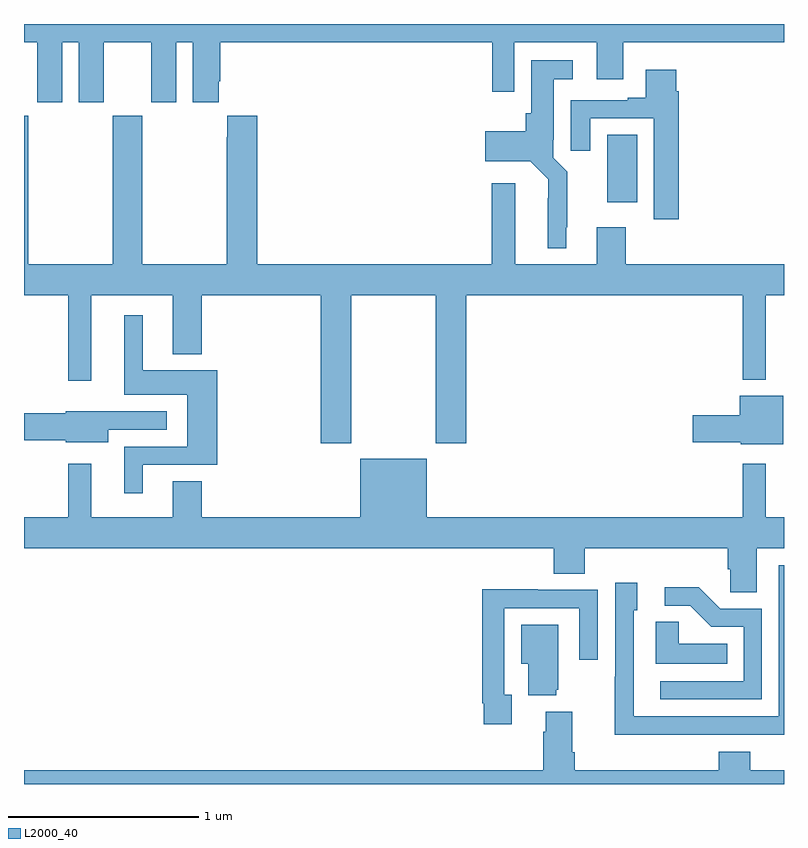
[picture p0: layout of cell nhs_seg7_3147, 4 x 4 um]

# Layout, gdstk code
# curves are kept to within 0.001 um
import gdstk
lib = gdstk.Library(unit=1e-6, precision=1e-09)
def R(c, l, rs):  # rectangles x0, y0, x1, y1
    for r in rs: c.add(gdstk.rectangle(r[:2], r[2:], *l))
def P(c, l, *ps):  # polygons
    for p in ps: c.add(gdstk.Polygon(p, *l))
L2000_40 = (2000, 40)

nhs_seg7_3147 = lib.new_cell('nhs_seg7_3147')
R(nhs_seg7_3147, L2000_40, [(314.069,1045.062,314.227,1045.418)])
P(nhs_seg7_3147, L2000_40, [(311.2,1045.904),(311.288,1045.904),(311.288,1045.587),(311.419,1045.587),(311.419,1045.904),(311.669,1045.904),(311.669,1045.587),(311.8,1045.587),(311.8,1045.904),(311.888,1045.904),(311.888,1045.587),(312.025,1045.587),(312.025,1045.699),(312.032,1045.699),(312.032,1045.904),(313.465,1045.904),(313.465,1045.644),(313.581,1045.644),(313.581,1045.904),(314.015,1045.904),(314.015,1045.71),(314.155,1045.71),(314.155,1045.904),(315,1045.904),(315,1046),(311,1046),(311,1045.904),(311.069,1045.904),(311.069,1045.587),(311.2,1045.587)],
  [(313.855,1044.931),(313.858,1044.931),(313.858,1045.223),(313.785,1045.296),(313.785,1045.39),(313.789,1045.39),(313.789,1045.709),(313.888,1045.709),(313.888,1045.81),(313.67,1045.81),(313.67,1045.53),(313.64,1045.53),(313.64,1045.435),(313.428,1045.435),(313.428,1045.277),(313.665,1045.277),(313.758,1045.184),(313.757,1044.821),(313.855,1044.821)],
  [(314.447,1045.646),(314.434,1045.646),(314.434,1045.759),(314.273,1045.759),(314.273,1045.612),(314.177,1045.612),(314.177,1045.599),(313.877,1045.599),(313.877,1045.332),(313.981,1045.332),(313.981,1045.503),(314.315,1045.503),(314.315,1044.972),(314.447,1044.972)],
  [(311.022,1045.516),(311,1045.516),(311,1044.572),(311.232,1044.572),(311.232,1044.123),(311.353,1044.123),(311.353,1044.572),(311.783,1044.572),(311.783,1044.263),(311.936,1044.263),(311.936,1044.572),(312.563,1044.572),(312.563,1043.793),(312.723,1043.793),(312.723,1044.572),(313.168,1044.572),(313.168,1043.793),(313.328,1043.793),(313.328,1044.572),(314.784,1044.572),(314.784,1044.128),(314.905,1044.128),(314.905,1044.572),(315,1044.572),(315,1044.736),(314.168,1044.736),(314.168,1044.93),(314.015,1044.93),(314.015,1044.736),(313.585,1044.736),(313.585,1045.162),(313.463,1045.162),(313.463,1044.736),(312.227,1044.736),(312.227,1045.516),(312.071,1045.516),(312.071,1045.403),(312.067,1045.403),(312.067,1044.736),(311.622,1044.736),(311.622,1045.516),(311.467,1045.516),(311.467,1044.736),(311.022,1044.736)],
  [(311.626,1043.679),(312.017,1043.679),(312.017,1044.178),(311.626,1044.178),(311.626,1044.466),(311.528,1044.466),(311.528,1044.05),(311.858,1044.05),(311.858,1043.775),(311.528,1043.775),(311.528,1043.529),(311.626,1043.529)],
  [(314.995,1044.043),(314.768,1044.043),(314.768,1043.942),(314.52,1043.942),(314.52,1043.8),(314.772,1043.8),(314.772,1043.789),(314.995,1043.789)],
  [(311.443,1043.865),(311.752,1043.865),(311.752,1043.961),(311.439,1043.961),(311.439,1043.962),(311.22,1043.962),(311.22,1043.951),(311,1043.951),(311,1043.809),(311.22,1043.809),(311.22,1043.798),(311.443,1043.798)],
  [(314.857,1043.24),(315,1043.24),(315,1043.404),(314.905,1043.404),(314.905,1043.686),(314.784,1043.686),(314.784,1043.404),(313.12,1043.404),(313.12,1043.713),(312.77,1043.713),(312.77,1043.404),(311.936,1043.404),(311.936,1043.594),(311.783,1043.594),(311.783,1043.404),(311.353,1043.404),(311.353,1043.686),(311.232,1043.686),(311.232,1043.404),(311,1043.404),(311,1043.24),(313.787,1043.24),(313.787,1043.107),(313.952,1043.107),(313.952,1043.24),(314.705,1043.24),(314.705,1043.131),(314.718,1043.131),(314.718,1043.008),(314.857,1043.008)],
  [(314.573,1042.26),(315,1042.26),(315,1043.151),(314.973,1043.151),(314.973,1042.356),(314.208,1042.356),(314.208,1042.914),(314.227,1042.914),(314.227,1043.059),(314.112,1043.059),(314.112,1042.565),(314.11,1042.565),(314.11,1042.259),(314.573,1042.259)],
  [(314.883,1042.923),(314.664,1042.923),(314.551,1043.036),(314.373,1043.036),(314.373,1042.938),(314.507,1042.938),(314.618,1042.827),(314.787,1042.827),(314.787,1042.542),(314.349,1042.542),(314.349,1042.446),(314.883,1042.446)],
  [(313.567,1042.47),(313.527,1042.47),(313.527,1042.926),(313.923,1042.926),(313.923,1042.653),(314.019,1042.653),(314.019,1043.022),(313.703,1043.022),(313.703,1043.024),(313.411,1043.024),(313.411,1042.426),(313.419,1042.426),(313.419,1042.314),(313.567,1042.314)],
  [(314.702,1042.738),(314.445,1042.738),(314.445,1042.853),(314.324,1042.853),(314.324,1042.634),(314.702,1042.634)],
  [(313.802,1042.497),(313.813,1042.497),(313.813,1042.837),(313.616,1042.837),(313.616,1042.634),(313.655,1042.634),(313.655,1042.466),(313.802,1042.466)],
  [(315,1042.072),(314.822,1042.072),(314.822,1042.171),(314.657,1042.171),(314.657,1042.072),(313.898,1042.072),(313.898,1042.168),(313.885,1042.168),(313.885,1042.381),(313.745,1042.381),(313.745,1042.274),(313.733,1042.274),(313.733,1042.072),(311,1042.072),(311,1042),(315,1042)])

lib.write_gds('nhs_seg7_3147.gds')
